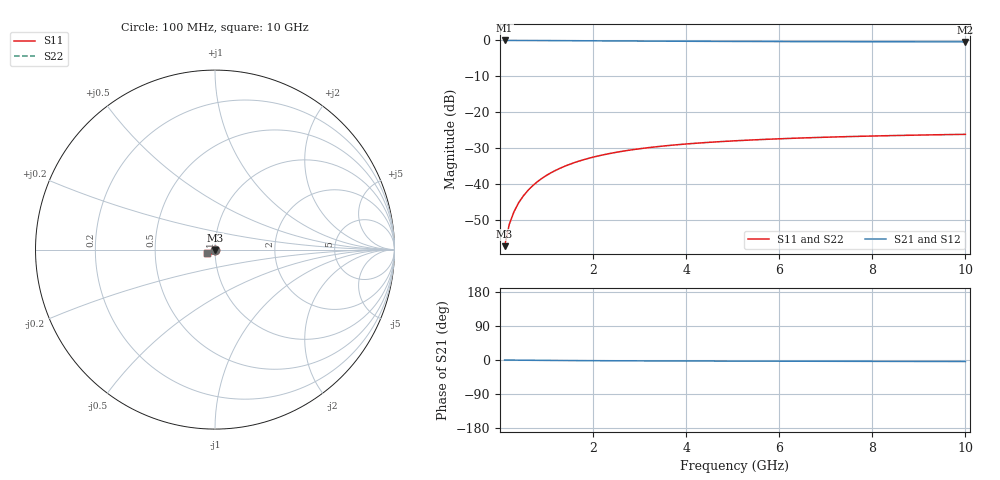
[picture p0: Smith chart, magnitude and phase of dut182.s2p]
! Touchstone file exported from HFSS 2024.1.0
!  File:  C:/UserFiles/LocalFiles/RDL_TSV_Batchsim/temp_TSV1_182_1779384231.aedt
!  Generated:  01:28:15 AM May 22, 2026
!  Design:  TSV1
!  Project:  temp_TSV1_182_1779384231
!  Setup:  Setup1
!  Solution:  Sweep
! Variables:
!  dtsv = 14.87um
!  hbump = 3um
!  htsv = 57.4um
!  lrdl = 252.1521522um
!  p = 40
!  p1 = 46.41um
!  t = 500um
!  trdl = 3um
!  wrdl = 24.89489489um
# GHz S MA R 50.000000
! Terminal data exported
! Port[1] = TSV22_T1
! Port[2] = TSV22_T2
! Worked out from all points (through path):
!   100 points, 100 MHz to 10 GHz, reference 50 ohm
!   highest |S21| = 0.00 dB at 100 MHz (marker M1); lowest = -0.4 dB at 10 GHz (marker M2)
!   lowest |S11| = -57.2 dB at 100 MHz (marker M3), VSWR 1.00, Z = 50 - j0.138 ohm
!   |S11| at or under -10 dB: start of sweep to end of sweep
!   |S22| runs from -57.2 to -26.1 dB; largest |S21 - S12| = 7.6e-15
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0.1  0.001384 -88.8  0.9999 -0.1  0.9999 -0.1  0.001384 -88.8
! Gamma 0 0 0 0
! Port Impedance 50 0 50 0
0.2  0.00277 -92.0  0.9998 -0.2  0.9998 -0.2  0.00277 -92.0
0.3  0.004154 -94.1  0.9996 -0.3  0.9996 -0.3  0.004154 -94.1
0.4  0.005526 -95.9  0.9993 -0.4  0.9993 -0.4  0.005526 -95.9
0.5  0.006883 -97.6  0.9989 -0.5  0.9989 -0.5  0.006883 -97.6
0.6  0.008221 -99.3  0.9985 -0.6  0.9985 -0.6  0.008221 -99.3
0.7  0.009538 -100.9  0.998 -0.7  0.998 -0.7  0.009538 -100.9
0.8  0.01083 -102.5  0.9975 -0.8  0.9975 -0.8  0.01083 -102.5
0.9  0.01209 -104.0  0.9969 -0.9  0.9969 -0.9  0.01209 -104.0
1.1  0.01453 -107.0  0.9955 -1.1  0.9955 -1.1  0.01453 -107.0
1.4  0.01795 -111.1  0.9933 -1.4  0.9933 -1.4  0.01795 -111.1
1.6  0.02006 -113.7  0.9917 -1.5  0.9917 -1.5  0.02006 -113.7
1.8  0.02203 -116.2  0.99 -1.6  0.99 -1.6  0.02203 -116.2
2.1  0.02473 -119.6  0.9876 -1.8  0.9876 -1.8  0.02473 -119.6
2.5  0.0279 -123.7  0.9844 -2.0  0.9844 -2.0  0.0279 -123.7
2.9  0.03063 -127.3  0.9814 -2.2  0.9814 -2.2  0.03063 -127.3
3.4  0.03353 -131.1  0.9779 -2.4  0.9779 -2.4  0.03353 -131.1
4.2  0.03724 -136.2  0.9731 -2.7  0.9731 -2.7  0.03724 -136.2
5.1  0.04046 -140.7  0.9687 -2.9  0.9687 -2.9  0.04046 -140.7
6.7  0.04458 -146.5  0.9627 -3.3  0.9627 -3.3  0.04459 -146.5
8.4  0.04758 -151.0  0.9583 -3.7  0.9583 -3.7  0.04758 -151.0
10  0.04959 -154.3  0.9553 -4.0  0.9553 -4.0  0.04959 -154.3
